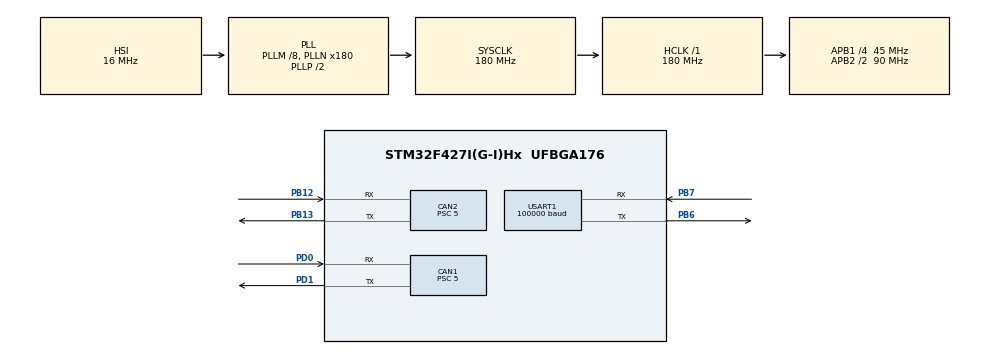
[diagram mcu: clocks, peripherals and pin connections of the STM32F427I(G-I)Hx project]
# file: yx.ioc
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CAN1.BS1=CAN_BS1_7TQ
CAN1.CalculateBaudRate=1000000
CAN1.CalculateTimeBit=1000
CAN1.CalculateTimeQuantum=111.11111111111111
CAN1.Prescaler=5
CAN2.ABOM=ENABLE
CAN2.BS1=CAN_BS1_7TQ
CAN2.BS2=CAN_BS2_1TQ
CAN2.CalculateBaudRate=1000000
CAN2.CalculateTimeBit=1000
CAN2.CalculateTimeQuantum=111.11111111111111
CAN2.Prescaler=5
Dma.Request0=USART1_RX
Dma.USART1_RX.0.Direction=DMA_PERIPH_TO_MEMORY
Dma.USART1_RX.0.FIFOMode=DMA_FIFOMODE_DISABLE
Dma.USART1_RX.0.Instance=DMA2_Stream2
Dma.USART1_RX.0.MemDataAlignment=DMA_MDATAALIGN_BYTE
Dma.USART1_RX.0.MemInc=DMA_MINC_ENABLE
Dma.USART1_RX.0.Mode=DMA_NORMAL
Dma.USART1_RX.0.PeriphDataAlignment=DMA_PDATAALIGN_BYTE
Dma.USART1_RX.0.PeriphInc=DMA_PINC_DISABLE
Dma.USART1_RX.0.Priority=DMA_PRIORITY_LOW
Mcu.Family=STM32F4
Mcu.Name=STM32F427I(G-I)Hx
Mcu.Package=UFBGA176
NVIC.CAN1_RX0_IRQn=true\:0\:0\:false\:false\:true\:true\:true\:true
NVIC.CAN2_RX1_IRQn=true\:0\:0\:false\:false\:true\:true\:true\:true
NVIC.DMA2_Stream2_IRQn=true\:0\:0\:false\:false\:true\:false\:true\:true
NVIC.PriorityGroup=NVIC_PRIORITYGROUP_4
NVIC.TIM4_IRQn=true\:0\:0\:false\:false\:true\:true\:true\:true
NVIC.USART1_IRQn=true\:0\:0\:false\:false\:true\:true\:true\:true
PA13.Mode=Serial_Wire
PA13.Signal=SYS_JTMS-SWDIO
PA14.Mode=Serial_Wire
PA14.Signal=SYS_JTCK-SWCLK
PB12.Mode=CAN_Activate
PB12.Signal=CAN2_RX
PB13.Mode=CAN_Activate
PB13.Signal=CAN2_TX
PB6.Mode=Asynchronous
PB6.Signal=USART1_TX
PB7.Mode=Asynchronous
PB7.Signal=USART1_RX
PD0.Mode=CAN_Activate
PD0.Signal=CAN1_RX
PD1.Mode=CAN_Activate
PD1.Signal=CAN1_TX
PH0/OSC_IN.Mode=HSE-External-Oscillator
PH0/OSC_IN.Signal=RCC_OSC_IN
PH1/OSC_OUT.Mode=HSE-External-Oscillator
PH1/OSC_OUT.Signal=RCC_OSC_OUT
ProjectManager.HeapSize=0x200
ProjectManager.StackSize=0x400
ProjectManager.TargetToolchain=MDK-ARM V5
RCC.48MHZClocksFreq_Value=90000000
RCC.AHBFreq_Value=180000000
RCC.APB1CLKDivider=RCC_HCLK_DIV4
RCC.APB1Freq_Value=45000000
RCC.APB1TimFreq_Value=90000000
RCC.APB2CLKDivider=RCC_HCLK_DIV2
RCC.APB2Freq_Value=90000000
RCC.APB2TimFreq_Value=180000000
RCC.CortexFreq_Value=180000000
RCC.HCLKFreq_Value=180000000
RCC.HSE_VALUE=12000000
RCC.HSI_VALUE=16000000
RCC.LSE_VALUE=32768
RCC.PLLM=8
RCC.PLLN=180
RCC.SYSCLKFreq_VALUE=180000000
RCC.SYSCLKSource=RCC_SYSCLKSOURCE_PLLCLK
RCC.VCOOutputFreq_Value=360000000
TIM4.AutoReloadPreload=TIM_AUTORELOAD_PRELOAD_ENABLE
TIM4.Period=999
TIM4.Prescaler=17999
USART1.BaudRate=100000
USART1.Parity=PARITY_EVEN
USART1.VirtualMode=VM_ASYNC
USART1.WordLength=WORDLENGTH_9B
VP_TIM4_VS_ClockSourceINT.Mode=Internal
board=custom

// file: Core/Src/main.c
/* USER CODE BEGIN Header */
/**
  ******************************************************************************
  * @file           : main.c
  * @brief          : Main program body
  ******************************************************************************
  * @attention
  *
  * Copyright (c) 2024 STMicroelectronics.
  * All rights reserved.
  *
  * This software is licensed under terms that can be found in the LICENSE file
  * in the root directory of this software component.
  * If no LICENSE file comes with this software, it is provided AS-IS.
  *
  ******************************************************************************
  */
/* USER CODE END Header */
#include "main.h"
#include "can.h"
#include "dma.h"
#include "tim.h"
#include "usart.h"
#include "gpio.h"

/* USER CODE BEGIN Includes */
#include "can_user.h"
#include "pid.h"
#include "yaokong.h"
#include "dipan_control.h"
/* USER CODE END Includes */

/* USER CODE BEGIN PD */
motor_recieve motor_recieve_dipan3508[4];
motor_recieve motor_recieve_dipan6020;
motor_recieve motor_reciver_bodan3508;
extern int16_t dipan_speedtarget[4];
 extern int16_t dipan_speed[4];

RC_Ctl_t RC_Ctl ;
uint8_t time=0;
uint16_t TIM4_Cnt1 = 0;
uint8_t sbus_rx_buffer[18];
/* USER CODE END PD */

void SystemClock_Config(void);

/* USER CODE BEGIN 0 */
int16_t target[4]={2000,2000,2000,2000};

int16_t target_stop[4]={0,0,0,0};
/* USER CODE END 0 */

int main(void)
{

  /* MCU Configuration--------------------------------------------------------*/

  /* Reset of all peripherals, Initializes the Flash interface and the Systick. */
  HAL_Init();

  /* Configure the system clock */
  SystemClock_Config();

  /* Initialize all configured peripherals */
  MX_GPIO_Init();
  MX_DMA_Init();
  MX_CAN2_Init();
  MX_USART1_UART_Init();
  MX_TIM4_Init();
  MX_CAN1_Init();
  /* USER CODE BEGIN 2 */
	__HAL_TIM_CLEAR_IT(&htim4,TIM_IT_UPDATE);
	HAL_TIM_Base_Start_IT(&htim4);
	HAL_CAN_Start(&hcan1);
	can_filter_init();

	HAL_CAN_Start(&hcan2);
	//can_filter2_init();
	HAL_UARTEx_ReceiveToIdle_DMA(&huart1,sbus_rx_buffer,18);
	__HAL_DMA_DISABLE_IT(huart1.hdmarx ,DMA_IT_HT );  //防止接收到一半就停止，跟上一句一定要配套写
  /* USER CODE END 2 */

  /* Infinite loop */
  while (1)
  {

    /* USER CODE BEGIN 3 */
		dipan_speed_jiesuan(RC_Ctl);
	  if(RC_Ctl.rc.s2==2)
	  {
		  CAN_cmd_current_3508motor(0,0,0,0);
	  }

	  if(RC_Ctl.rc.s2==3)
		{
			target[0]=dipan_speed[0];
			target[1]=dipan_speed[1];
			target[2]=dipan_speed[2];
			target[3]=dipan_speed[3];

			CAN_cmd_speed_3508motor(dipan_speed,motor_recieve_dipan3508);
		}
		if(RC_Ctl.rc.s2==1)
		{
		CAN_cmd_speed_3508motor(dipan_speed,motor_recieve_dipan3508);
		}

	 HAL_Delay(2);
  }
  /* USER CODE END 3 */
}

void SystemClock_Config(void)
{
  RCC_OscInitTypeDef RCC_OscInitStruct = {0};
  RCC_ClkInitTypeDef RCC_ClkInitStruct = {0};

  /** Configure the main internal regulator output voltage
  */
  __HAL_RCC_PWR_CLK_ENABLE();
  __HAL_PWR_VOLTAGESCALING_CONFIG(PWR_REGULATOR_VOLTAGE_SCALE1);

  /** Initializes the RCC Oscillators according to the specified parameters
  * in the RCC_OscInitTypeDef structure.
  */
  RCC_OscInitStruct.OscillatorType = RCC_OSCILLATORTYPE_HSI;
  RCC_OscInitStruct.HSIState = RCC_HSI_ON;
  RCC_OscInitStruct.HSICalibrationValue = RCC_HSICALIBRATION_DEFAULT;
  RCC_OscInitStruct.PLL.PLLState = RCC_PLL_ON;
  RCC_OscInitStruct.PLL.PLLSource = RCC_PLLSOURCE_HSI;
  RCC_OscInitStruct.PLL.PLLM = 8;
  RCC_OscInitStruct.PLL.PLLN = 180;
  RCC_OscInitStruct.PLL.PLLP = RCC_PLLP_DIV2;
  RCC_OscInitStruct.PLL.PLLQ = 4;
  if (HAL_RCC_OscConfig(&RCC_OscInitStruct) != HAL_OK)
  {
    Error_Handler();
  }

  /** Activate the Over-Drive mode
  */
  if (HAL_PWREx_EnableOverDrive() != HAL_OK)
  {
    Error_Handler();
  }

  /** Initializes the CPU, AHB and APB buses clocks
  */
  RCC_ClkInitStruct.ClockType = RCC_CLOCKTYPE_HCLK|RCC_CLOCKTYPE_SYSCLK
                              |RCC_CLOCKTYPE_PCLK1|RCC_CLOCKTYPE_PCLK2;
  RCC_ClkInitStruct.SYSCLKSource = RCC_SYSCLKSOURCE_PLLCLK;
  RCC_ClkInitStruct.AHBCLKDivider = RCC_SYSCLK_DIV1;
  RCC_ClkInitStruct.APB1CLKDivider = RCC_HCLK_DIV4;
  RCC_ClkInitStruct.APB2CLKDivider = RCC_HCLK_DIV2;

  if (HAL_RCC_ClockConfig(&RCC_ClkInitStruct, FLASH_LATENCY_5) != HAL_OK)
  {
    Error_Handler();
  }
}

/* USER CODE BEGIN 4 */
void HAL_TIM_PeriodElapsedCallback(TIM_HandleTypeDef *htim)
{
  /* USER CODE BEGIN Callback 0 */

  /* USER CODE BEGIN Callback 1 */

	if(htim->Instance == TIM4)
	{
		TIM4_Cnt1 ++;
		if(TIM4_Cnt1 >= 1000)
		{
			TIM4_Cnt1 = 0;
			time++;
		}
	}
}
/* USER CODE END 4 */

void Error_Handler(void)
{
  __disable_irq();
  while (1)
  {
  }
}
